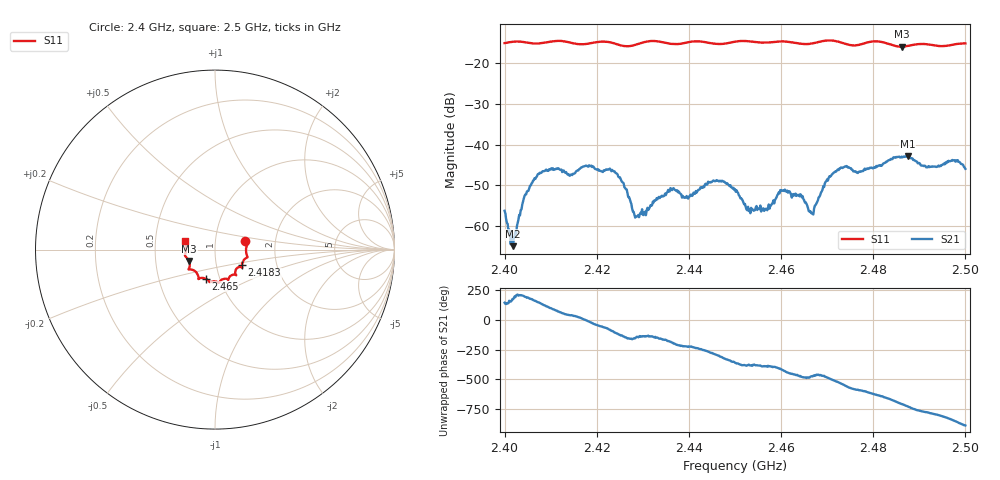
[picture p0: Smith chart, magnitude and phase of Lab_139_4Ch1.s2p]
# Hz S RI R 50
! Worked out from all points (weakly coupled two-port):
!   601 points, 2.4 GHz to 2.5 GHz, reference 50 ohm
!   highest |S21| = -42.82 dB at 2.4875 GHz (marker M1); lowest = -64.9 dB at 2.4018 GHz (marker M2)
!   lowest |S11| = -16.0 dB at 2.4862 GHz (marker M3), VSWR 1.37, Z = 37.1 - j4.83 ohm
!   |S11| at or under -10 dB: start of sweep to end of sweep
!   S12 and S22 are empty: the file has one direction only
!   S11 on the Smith chart (normalised r, x): 2.4 GHz: 1.40, +0.13; 2.4183 GHz: 1.33, -0.24; 2.465 GHz: 0.86, -0.29; 2.5 GHz: 0.71, +0.07
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2.4e9  0.1689 0.0458  -0.00123 0.000925  0 0  0 0
2.401833e9  0.178 0.0369  -0.000563 7.81e-05  0 0  0 0
2.404333e9  0.1781 0.0244  -0.00229 -0.000566  0 0  0 0
2.407333e9  0.1729 -0.00756  -0.00362 0.00246  0 0  0 0
2.416667e9  0.1549 -0.0683  0.00512 0.00122  0 0  0 0
2.418333e9  0.1499 -0.0867  0.00536 -0.00151  0 0  0 0
2.424e9  0.1424 -0.0963  -0.00146 -0.0043  0 0  0 0
2.428667e9  0.1124 -0.1256  -0.00105 -0.000799  0 0  0 0
2.433333e9  0.1168 -0.1413  -0.002 -0.000992  0 0  0 0
2.439667e9  0.0762 -0.1614  -0.00161 0.00159  0 0  0 0
2.445667e9  0.0561 -0.1622  0.00119 0.00335  0 0  0 0
2.45e9  0.0251 -0.1806  0.00284 2.87e-05  0 0  0 0
2.4535e9  0.0167 -0.1823  0.00156 -0.000617  0 0  0 0
2.457e9  -0.01 -0.1773  0.0013 -0.000875  0 0  0 0
2.460333e9  -0.0289 -0.1813  0.00129 -0.00241  0 0  0 0
2.465e9  -0.0529 -0.162  -0.00118 -0.00172  0 0  0 0
2.466667e9  -0.0715 -0.1574  -0.000574 -0.00134  0 0  0 0
2.471833e9  -0.0919 -0.1612  -0.00429 -0.00199  0 0  0 0
2.483333e9  -0.1419 -0.0958  0.00331 0.00549  0 0  0 0
2.486167e9  -0.1445 -0.0634  0.00692 0.00164  0 0  0 0
2.4875e9  -0.1534 -0.0505  0.00717 -0.000895  0 0  0 0
2.5e9  -0.1669 0.0473  -0.00489 -0.00118  0 0  0 0
